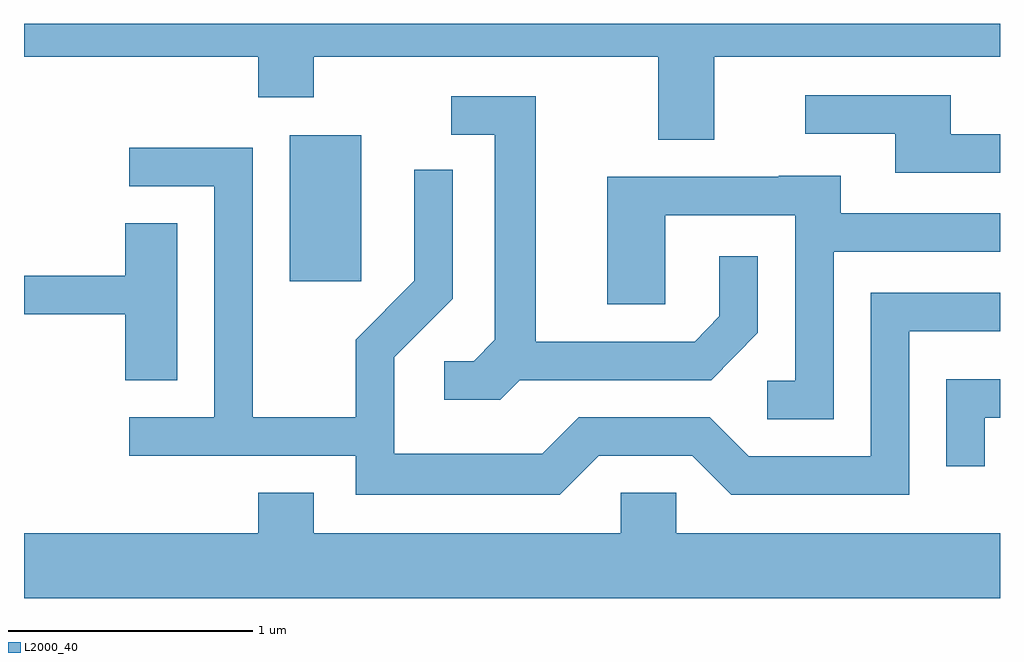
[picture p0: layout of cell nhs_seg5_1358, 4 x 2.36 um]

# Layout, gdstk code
import gdstk
lib = gdstk.Library(unit=1e-6, precision=1e-09)
def R(c, l, rs):  # rectangles x0, y0, x1, y1
    for r in rs: c.add(gdstk.rectangle(r[:2], r[2:], *l))
def P(c, l, *ps):  # polygons
    for p in ps: c.add(gdstk.Polygon(p, *l))
L2000_40 = (2000, 40)

nhs_seg5_1358 = lib.new_cell('nhs_seg5_1358')
R(nhs_seg5_1358, L2000_40, [(226.701,1427.016,226.994,1427.614)])
P(nhs_seg5_1358, L2000_40, [(228.439,1427.936),(229.611,1427.936),(229.611,1428.072),(225.611,1428.072),(225.611,1427.936),(226.571,1427.936),(226.571,1427.771),(226.799,1427.771),(226.799,1427.936),(228.211,1427.936),(228.211,1427.596),(228.439,1427.596)],
  [(229.611,1427.619),(229.409,1427.619),(229.409,1427.779),(228.813,1427.779),(228.813,1427.621),(229.181,1427.621),(229.181,1427.461),(229.611,1427.461)],
  [(227.642,1426.611),(228.427,1426.611),(228.619,1426.804),(228.619,1427.118),(228.461,1427.118),(228.461,1426.872),(228.359,1426.769),(227.709,1426.769),(227.709,1427.774),(227.363,1427.774),(227.363,1427.616),(227.541,1427.616),(227.541,1426.777),(227.454,1426.689),(227.333,1426.689),(227.333,1426.531),(227.562,1426.531)],
  [(227.967,1426.301),(228.349,1426.301),(228.509,1426.141),(229.239,1426.141),(229.239,1426.811),(229.611,1426.811),(229.611,1426.969),(229.081,1426.969),(229.081,1426.299),(228.582,1426.299),(228.422,1426.459),(227.884,1426.459),(227.734,1426.309),(227.129,1426.309),(227.129,1426.704),(227.369,1426.944),(227.369,1427.473),(227.211,1427.473),(227.211,1427.017),(226.971,1426.777),(226.971,1426.459),(226.549,1426.459),(226.549,1427.564),(226.043,1427.564),(226.043,1427.406),(226.391,1427.406),(226.391,1426.459),(226.043,1426.459),(226.043,1426.301),(226.971,1426.301),(226.971,1426.141),(227.807,1426.141)],
  [(228.929,1427.136),(229.611,1427.136),(229.611,1427.294),(228.959,1427.294),(228.959,1427.449),(228.705,1427.449),(228.705,1427.444),(228.001,1427.444),(228.001,1426.921),(228.239,1426.921),(228.239,1427.286),(228.771,1427.286),(228.771,1426.609),(228.658,1426.609),(228.658,1426.451),(228.929,1426.451)],
  [(226.239,1427.254),(226.026,1427.254),(226.026,1427.039),(225.611,1427.039),(225.611,1426.881),(226.026,1426.881),(226.026,1426.611),(226.239,1426.611)],
  [(229.549,1426.456),(229.611,1426.456),(229.611,1426.614),(229.391,1426.614),(229.391,1426.258),(229.549,1426.258)],
  [(229.611,1425.984),(228.284,1425.984),(228.284,1426.149),(228.056,1426.149),(228.056,1425.984),(226.799,1425.984),(226.799,1426.149),(226.571,1426.149),(226.571,1425.984),(225.611,1425.984),(225.611,1425.716),(229.611,1425.716)])

lib.write_gds('nhs_seg5_1358.gds')
